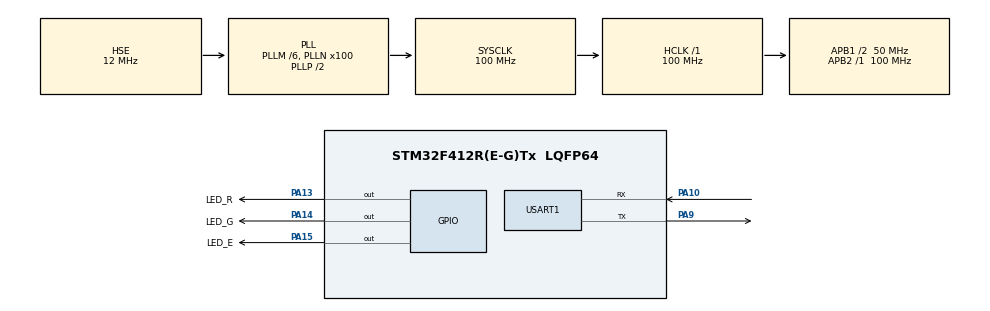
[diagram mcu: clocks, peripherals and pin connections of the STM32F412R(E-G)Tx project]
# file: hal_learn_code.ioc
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Mcu.Family=STM32F4
Mcu.Name=STM32F412R(E-G)Tx
Mcu.Package=LQFP64
NVIC.PriorityGroup=NVIC_PRIORITYGROUP_4
PA10.Mode=Asynchronous
PA10.Signal=USART1_RX
PA13.GPIO_Label=LED_R
PA13.Signal=GPIO_Output
PA14.GPIO_Label=LED_G
PA14.Signal=GPIO_Output
PA15.GPIO_Label=LED_E
PA15.Signal=GPIO_Output
PA9.Mode=Asynchronous
PA9.Signal=USART1_TX
PH0\ -\ OSC_IN.Mode=HSE-External-Oscillator
PH0\ -\ OSC_IN.Signal=RCC_OSC_IN
PH1\ -\ OSC_OUT.Mode=HSE-External-Oscillator
PH1\ -\ OSC_OUT.Signal=RCC_OSC_OUT
ProjectManager.HeapSize=0x200
ProjectManager.StackSize=0x400
ProjectManager.TargetToolchain=MDK-ARM V5.32
RCC.AHBFreq_Value=100000000
RCC.APB1CLKDivider=RCC_HCLK_DIV2
RCC.APB1Freq_Value=50000000
RCC.APB1TimFreq_Value=100000000
RCC.APB2Freq_Value=100000000
RCC.APB2TimFreq_Value=100000000
RCC.CortexFreq_Value=100000000
RCC.HCLKFreq_Value=100000000
RCC.HSE_VALUE=12000000
RCC.PLLM=6
RCC.PLLN=100
RCC.PLLSourceVirtual=RCC_PLLSOURCE_HSE
RCC.SYSCLKFreq_VALUE=100000000
RCC.SYSCLKSource=RCC_SYSCLKSOURCE_PLLCLK
RCC.USBFreq_Value=100000000
RCC.VCOOutputFreq_Value=200000000
USART1.VirtualMode=VM_ASYNC
board=custom

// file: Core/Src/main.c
/* USER CODE BEGIN Header */
/**
  ******************************************************************************
  * @file           : main.c
  * @brief          : Main program body
  ******************************************************************************
  * @attention
  *
  * Copyright (c) 2025 STMicroelectronics.
  * All rights reserved.
  *
  * This software is licensed under terms that can be found in the LICENSE file
  * in the root directory of this software component.
  * If no LICENSE file comes with this software, it is provided AS-IS.
  *
  ******************************************************************************
  */
/* USER CODE END Header */
#include "main.h"
#include "usart.h"
#include "gpio.h"

void SystemClock_Config(void);

int main(void)
{

  /* MCU Configuration--------------------------------------------------------*/

  /* Reset of all peripherals, Initializes the Flash interface and the Systick. */
  HAL_Init();

  /* Configure the system clock */
  SystemClock_Config();

  /* Initialize all configured peripherals */
  MX_GPIO_Init();
  MX_USART1_UART_Init();
  /* USER CODE BEGIN 2 */
  /* 通过串口1发送“Hello” */
  HAL_UART_Transmit(&huart1, (uint8_t*)"Hello", 5, 0xFF);

//   /* 接收信息缓存，只接收5个字节数据 */
//   char recv_str[10];
//   HAL_UART_Receive(&huart1, recv_str, 5, 0xFFFFFFFF);

//   /* 将接收到的信息发回给电脑 */
//   HAL_UART_Transmit(&huart1, recv_str, 5, 0xFF);

  /* 输出变量 */
  char wave_out = 0;

  /* LED计时变量 */
  uint16_t led_time = 0;

  /* USER CODE END 2 */

  /* Infinite loop */
  /* USER CODE BEGIN WHILE */
  while (1)
  {
    // /* 打印日志并输出变量, 输出“\r\n”是为了换行显示 */
    // PrintfDebug("LED Green State %d\r\n", HAL_GPIO_ReadPin(LED_G_GPIO_Port, LED_G_Pin));

    // /* 反转引脚状态 */
    // HAL_GPIO_TogglePin(LED_G_GPIO_Port, LED_G_Pin);

    // /* 延时500ms */
    // HAL_Delay(500);

    /* LED计时到500ms状态切换一次 */
    if(led_time >= 500)
    {
        led_time = 0; // 重新计时
        /* 翻转引脚状态 */
        HAL_GPIO_TogglePin(LED_G_GPIO_Port, LED_G_Pin);
    }

    /* 隔5ms发送一次变量点 */
    if(wave_out >= 100)
    {
        /* 如果wave_out大于等于100，则输出由99 -> 0, 一个100个点 */
        /* 通过串口1发送三角波变量数据，并增加包头包尾用于解析数据 */
        HAL_UART_Transmit(&huart1, (uint8_t[]){0xD2, (199 - wave_out), 0xD3}, 3, 0xFF);
    }else{
        /* 如果wave_out小于100，则输出由0 -> 99, 一个100个点 */
        /* 通过串口1发送三角波变量数据，并增加包头包尾用于解析数据 */
        HAL_UART_Transmit(&huart1, (uint8_t[]){0xD2, wave_out, 0xD3}, 3, 0xFF);
    }

    /* 隔5ms发送一次变量点 */
    if(wave_out >= 100)
    {
        /* 如果wave_out大于等于100，则输出由0 -> 99, 一个100个点 */
        /* 通过串口1发送锯齿波变量数据，并增加包头包尾用于解析数据 */
        HAL_UART_Transmit(&huart1, (uint8_t[]){0xCE, (wave_out % 100), 0xCF}, 3, 0xFF);
    }else{
        /* 如果wave_out小于100，则输出由0 -> 99, 一个100个点 */
        /* 通过串口1发送锯齿波变量数据，并增加包头包尾用于解析数据 */
        HAL_UART_Transmit(&huart1, (uint8_t[]){0xCE, wave_out, 0xCF}, 3, 0xFF);
    }

    /**
     * wave_out在[0, 199]循环
     * 一个周期200个数据点，一个数据点5ms
     * 所以波形一个周期为1000ms
     */
    wave_out++;
    if(wave_out >= 200)
    {
        wave_out = 0;
    }

    /* 保持电平状态方便观察 */
    HAL_Delay(5); // 延时10ms
    led_time += 5; // LED计时增加

    /* USER CODE END WHILE */

  }
}

void SystemClock_Config(void)
{
  RCC_OscInitTypeDef RCC_OscInitStruct = {0};
  RCC_ClkInitTypeDef RCC_ClkInitStruct = {0};

  /** Configure the main internal regulator output voltage
  */
  __HAL_RCC_PWR_CLK_ENABLE();
  __HAL_PWR_VOLTAGESCALING_CONFIG(PWR_REGULATOR_VOLTAGE_SCALE1);

  /** Initializes the RCC Oscillators according to the specified parameters
  * in the RCC_OscInitTypeDef structure.
  */
  RCC_OscInitStruct.OscillatorType = RCC_OSCILLATORTYPE_HSE;
  RCC_OscInitStruct.HSEState = RCC_HSE_ON;
  RCC_OscInitStruct.PLL.PLLState = RCC_PLL_ON;
  RCC_OscInitStruct.PLL.PLLSource = RCC_PLLSOURCE_HSE;
  RCC_OscInitStruct.PLL.PLLM = 6;
  RCC_OscInitStruct.PLL.PLLN = 100;
  RCC_OscInitStruct.PLL.PLLP = RCC_PLLP_DIV2;
  RCC_OscInitStruct.PLL.PLLQ = 2;
  RCC_OscInitStruct.PLL.PLLR = 2;
  if (HAL_RCC_OscConfig(&RCC_OscInitStruct) != HAL_OK)
  {
    Error_Handler();
  }

  /** Initializes the CPU, AHB and APB buses clocks
  */
  RCC_ClkInitStruct.ClockType = RCC_CLOCKTYPE_HCLK|RCC_CLOCKTYPE_SYSCLK
                              |RCC_CLOCKTYPE_PCLK1|RCC_CLOCKTYPE_PCLK2;
  RCC_ClkInitStruct.SYSCLKSource = RCC_SYSCLKSOURCE_PLLCLK;
  RCC_ClkInitStruct.AHBCLKDivider = RCC_SYSCLK_DIV1;
  RCC_ClkInitStruct.APB1CLKDivider = RCC_HCLK_DIV2;
  RCC_ClkInitStruct.APB2CLKDivider = RCC_HCLK_DIV1;

  if (HAL_RCC_ClockConfig(&RCC_ClkInitStruct, FLASH_LATENCY_3) != HAL_OK)
  {
    Error_Handler();
  }
}

void Error_Handler(void)
{
  __disable_irq();
  while (1)
  {
  }
}
